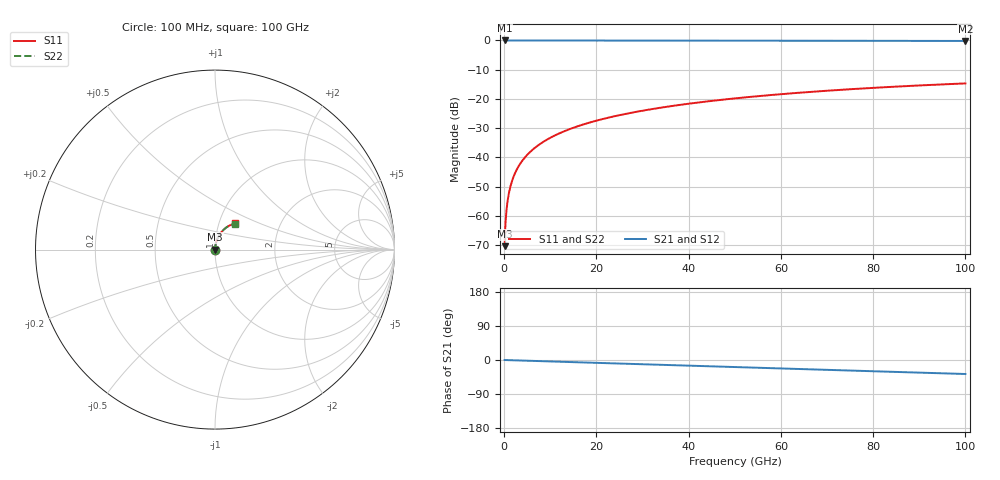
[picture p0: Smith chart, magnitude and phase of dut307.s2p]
! Touchstone file exported from HFSS 2026.1.0
!  File:  C:/ffzhzh/LocalFiles/Ansys_Project_Files/temp_train_TSV_307_1783509287_44152.aedt
!  Generated:  07:16:01 PM Jul  8, 2026
!  Design:  TSV
!  Project:  temp_train_TSV_307_1783509287_44152
! Variables:
!  h_bsmrdl = 2um
!  h_ox = 20um
!  h_rdl = 5um
!  h_sub = 67.34um
!  h_tmrdl = 5um
!  h_tsv = 67.34um
!  h_via = 3um
!  l_bsmrdl = 300um
!  l_sub = 415.24um
!  l_tmrdl = 200um
!  m_sub = 200um
!  pitch = 47.06um
!  r_tsv = 7.62um
!  s_tmrdl = 10um
!  w_bsmrdl = 18um
!  w_sub = 500um
!  w_tmrdl = 12um
!  x_tsv_center1 = 206um
!  x_tsv_center2 = 524um
!  x_tsv_center3 = 736um
!  x_tsv_center4 = 1054um
!  x_tsv_center5 = 1266um
!  x_tsv_center6 = 1584um
# GHz S MA R 50.000000
! Terminal data exported
! Port[1] = TSV1_1_T1
! Port[2] = TSV1_1_T2
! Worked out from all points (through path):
!   1000 points, 100 MHz to 100 GHz, reference 50 ohm
!   highest |S21| = 0.00 dB at 100 MHz (marker M1); lowest = -0.2 dB at 100 GHz (marker M2)
!   group delay of S21, straight-line fit = 1.03 ps
!   lowest |S11| = -70.4 dB at 100 MHz (marker M3), VSWR 1.00, Z = 50 + j0.025 ohm
!   |S11| at or under -10 dB: start of sweep to end of sweep
!   |S22| runs from -70.4 to -14.7 dB; largest |S21 - S12| = 6.5e-15
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0.1  0.0003012 56.1  0.9998 -0.0  0.9998 -0.0  0.0003012 56.1
! Gamma 0 0 0 0
! Port Impedance 50 0 50 0
0.4  0.0009919 77.6  0.9998 -0.2  0.9998 -0.2  0.0009919 77.6
0.7  0.001675 81.1  0.9997 -0.3  0.9997 -0.3  0.001675 81.1
0.8  0.001901 81.7  0.9997 -0.3  0.9997 -0.3  0.001901 81.7
1  0.002352 82.6  0.9997 -0.4  0.9997 -0.4  0.002352 82.6
1.3  0.003023 83.4  0.9997 -0.5  0.9997 -0.5  0.003023 83.4
1.7  0.003911 83.9  0.9996 -0.7  0.9996 -0.7  0.003911 83.9
2.3  0.005225 84.3  0.9995 -0.9  0.9995 -0.9  0.005225 84.3
3  0.006737 84.5  0.9995 -1.1  0.9995 -1.1  0.006737 84.5
3.8  0.00845 84.6  0.9994 -1.4  0.9994 -1.4  0.00845 84.6
4.8  0.01058 84.7  0.9993 -1.8  0.9993 -1.8  0.01058 84.7
6  0.01313 84.6  0.9992 -2.3  0.9992 -2.3  0.01313 84.6
8.8  0.01905 84.1  0.9989 -3.3  0.9989 -3.3  0.01905 84.1
12.4  0.0266 83.1  0.9986 -4.7  0.9986 -4.7  0.0266 83.0
16.8  0.03576 81.7  0.9981 -6.3  0.9981 -6.3  0.03576 81.7
24.2  0.051 79.3  0.9972 -9.1  0.9972 -9.1  0.051 79.3
33.4  0.0696 76.1  0.9959 -12.5  0.9959 -12.5  0.0696 76.1
41.2  0.08499 73.3  0.9945 -15.4  0.9945 -15.4  0.08499 73.3
50.1  0.102 70.2  0.9927 -18.7  0.9927 -18.7  0.102 70.1
66.7  0.1322 64.2  0.9888 -24.8  0.9888 -24.8  0.1322 64.2
83.4  0.1597 58.2  0.9845 -30.9  0.9845 -30.9  0.1597 58.2
100  0.1839 52.3  0.98 -36.9  0.98 -36.9  0.1839 52.3
